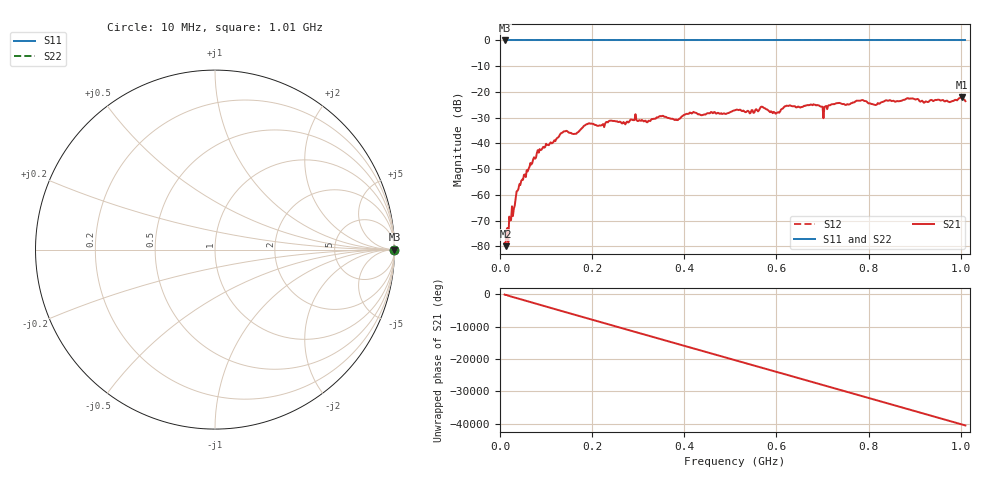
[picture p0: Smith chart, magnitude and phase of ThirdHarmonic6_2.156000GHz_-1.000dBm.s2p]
! 8/17/2025 1:44:31 AM
! C:\ANRITSUVNA\TEMP\TEMP.S2P
! CHANNEL.1
! TR.MEASUREMENT
! RAW.DATA
! RF.CORRECTION.OFF
! AVERAGING.OFF
! IF.BANDWIDTH: 5KHZ
! SWEEPTYPE:  FREQ.SWEEP(Linear)
! Reference Plane Port Info
! PORT:  PORT1  PORT2
! DISTANCE:  0  m  0  m
! TIME:  0  s  0  s
! PHASE.OFFSET:  0  deg.  0  deg.
! LOSS:  0  dB  0  dB
! REF.LOSS:  0  dB  0  dB
! REF.FREQ:  0  Hz  0  Hz
! Power Info
! POWER:  -20  dBm  -20  dBm
! EFF.POWER:  -20  dBm  -20  dBm
! SOURCE.ATTEN:  0  dB  0  dB
! TEST.ATTEN:  0  dB  0  dB
# GHZ S RI R 50.0
! FREQ.GHZ  S11RE  S11IM  S21RE  S21IM  S12RE  S12IM  S22RE  S22IM
!; PortSelection: Port_12
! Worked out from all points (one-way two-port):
!   501 points, 10 MHz to 1.01 GHz, reference 50 ohm
!   highest |S21| = -22.07 dB at 1.002 GHz (marker M1); lowest = -79.9 dB at 12 MHz (marker M2)
!   lowest |S11| = 0.0 dB at 10 MHz (marker M3)
!   |S11| at or under -10 dB: nowhere
!   |S22| runs from 0.0 to 0.0 dB; largest |S21 - S12| = 1.1
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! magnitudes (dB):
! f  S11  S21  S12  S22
! 10 MHz  0.0  -78.7  0.0  0.0
! 12 MHz  0.0  -79.9  0.0  0.0
! 40 MHz  0.0  -57.6  0.0  0.0
! 84 MHz  0.0  -43.6  0.0  0.0
! 136 MHz  0.0  -35.7  0.0  0.0
! 162 MHz  0.0  -36.3  0.0  0.0
! 178 MHz  0.0  -34.0  0.0  0.0
! 344 MHz  0.0  -29.7  0.0  0.0
! 382 MHz  0.0  -30.7  0.0  0.0
! 416 MHz  0.0  -28.4  0.0  0.0
! 510 MHz  0.0  -27.1  0.0  0.0
! 570 MHz  0.0  -25.8  0.0  0.0
! 602 MHz  0.0  -28.0  0.0  0.0
! 622 MHz  0.0  -25.3  0.0  0.0
! 678 MHz  0.0  -25.1  0.0  0.0
! 706 MHz  0.0  -25.6  0.0  0.0
! 732 MHz  0.0  -24.3  0.0  0.0
! 786 MHz  0.0  -23.1  0.0  0.0
! 814 MHz  0.0  -25.0  0.0  0.0
! 844 MHz  0.0  -23.3  0.0  0.0
! 1.002 GHz  0.0  -22.1  0.0  0.0
! 1.01 GHz  0.0  -23.6  0.0  0.0
